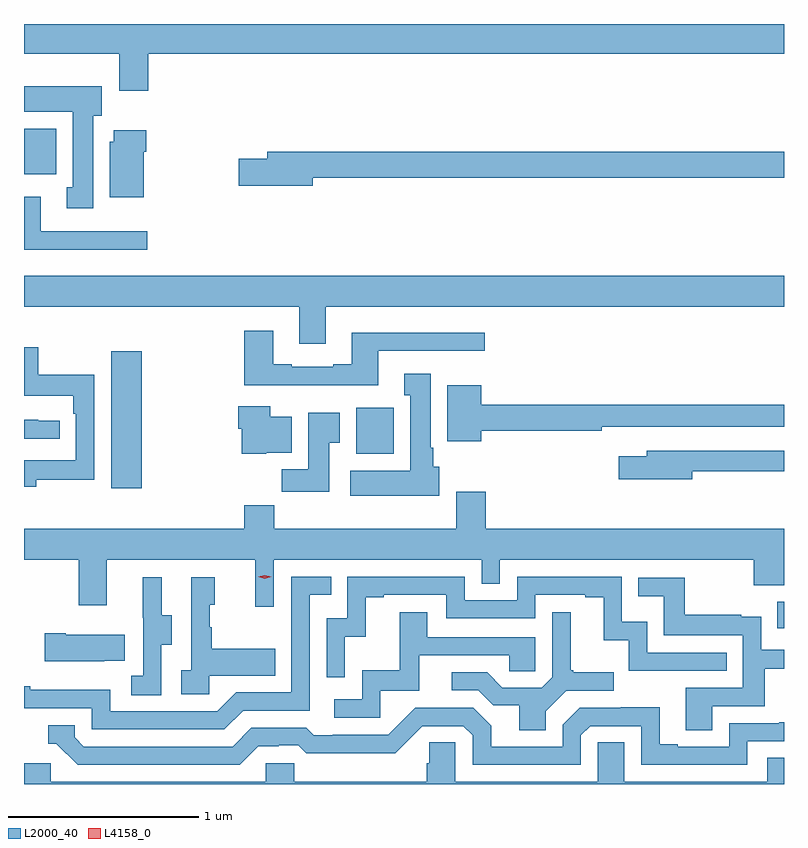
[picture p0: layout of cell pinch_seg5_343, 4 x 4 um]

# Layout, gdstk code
import gdstk
lib = gdstk.Library(unit=1e-6, precision=1e-09)
def R(c, l, rs):  # rectangles x0, y0, x1, y1
    for r in rs: c.add(gdstk.rectangle(r[:2], r[2:], *l))
def P(c, l, *ps):  # polygons
    for p in ps: c.add(gdstk.Polygon(p, *l))
L2000_40 = (2000, 40)
L4158_0 = (4158, 0)

pinch_seg5_343 = lib.new_cell('pinch_seg5_343')
R(pinch_seg5_343, L2000_40, [(962.041,877.712,962.077,877.852), (958.535,878.448,958.696,879.169), (959.825,878.63,960.022,878.872), (958.077,880.1,958.246,880.342)])
P(pinch_seg5_343, L2000_40, [(958.73,880.736),(962.077,880.736),(962.077,880.892),(958.077,880.892),(958.077,880.736),(958.577,880.736),(958.577,880.542),(958.73,880.542)],
  [(958.441,880.41),(958.486,880.41),(958.486,880.564),(958.077,880.564),(958.077,880.43),(958.334,880.43),(958.334,880.034),(958.301,880.034),(958.301,879.921),(958.441,879.921)],
  [(958.708,880.22),(958.721,880.22),(958.721,880.333),(958.55,880.333),(958.55,880.272),(958.529,880.272),(958.529,879.98),(958.708,879.98)],
  [(959.596,880.084),(962.077,880.084),(962.077,880.22),(959.357,880.22),(959.357,880.184),(959.208,880.184),(959.208,880.042),(959.596,880.042)],
  [(958.726,879.801),(958.165,879.801),(958.165,879.982),(958.077,879.982),(958.077,879.704),(958.726,879.704)],
  [(959.665,879.404),(962.077,879.404),(962.077,879.568),(958.077,879.568),(958.077,879.404),(959.525,879.404),(959.525,879.21),(959.665,879.21)],
  [(959.941,879.171),(960.502,879.171),(960.502,879.268),(959.801,879.268),(959.801,879.1),(959.705,879.1),(959.705,879.087),(959.485,879.087),(959.485,879.1),(959.389,879.1),(959.389,879.277),(959.237,879.277),(959.237,878.99),(959.941,878.99)],
  [(958.141,878.494),(958.446,878.494),(958.446,879.046),(958.153,879.046),(958.153,879.192),(958.077,879.192),(958.077,878.936),(958.337,878.936),(958.337,878.84),(958.35,878.84),(958.35,878.595),(958.077,878.595),(958.077,878.456),(958.141,878.456)],
  [(960.262,878.562),(960.232,878.562),(960.232,878.662),(960.217,878.662),(960.217,879.052),(960.077,879.052),(960.077,878.939),(960.11,878.939),(960.11,878.542),(959.793,878.542),(959.793,878.408),(960.262,878.408)],
  [(960.484,878.752),(961.118,878.752),(961.118,878.772),(962.077,878.772),(962.077,878.888),(960.484,878.888),(960.484,878.992),(960.305,878.992),(960.305,878.696),(960.484,878.696)],
  [(959.352,878.636),(959.485,878.636),(959.485,878.824),(959.374,878.824),(959.374,878.881),(959.204,878.881),(959.204,878.763),(959.222,878.763),(959.222,878.63),(959.352,878.63)],
  [(959.683,878.689),(959.74,878.689),(959.74,878.845),(959.573,878.845),(959.573,878.548),(959.434,878.548),(959.434,878.43),(959.683,878.43)],
  [(958.264,878.805),(958.151,878.805),(958.151,878.81),(958.077,878.81),(958.077,878.709),(958.264,878.709)],
  [(961.594,878.538),(962.077,878.538),(962.077,878.646),(961.355,878.646),(961.355,878.617),(961.206,878.617),(961.206,878.495),(961.594,878.495)],
  [(959.391,878.072),(960.486,878.072),(960.486,877.945),(960.582,877.945),(960.582,878.072),(961.918,878.072),(961.918,877.937),(962.077,877.937),(962.077,878.236),(960.506,878.236),(960.506,878.431),(960.353,878.431),(960.353,878.236),(959.393,878.236),(959.393,878.36),(959.237,878.36),(959.237,878.236),(958.077,878.236),(958.077,878.072),(958.366,878.072),(958.366,877.833),(958.513,877.833),(958.513,878.072),(959.294,878.072),(959.294,877.824),(959.391,877.824)],
  [(959.766,877.667),(959.876,877.667),(959.876,877.875),(959.971,877.875),(959.971,877.887),(960.3,877.887),(960.3,877.764),(960.768,877.764),(960.768,877.887),(961.031,877.887),(961.031,877.875),(961.127,877.875),(961.127,877.649),(961.26,877.649),(961.26,877.488),(961.775,877.488),(961.775,877.584),(961.356,877.584),(961.356,877.747),(961.224,877.747),(961.224,877.983),(960.672,877.983),(960.672,877.86),(960.396,877.86),(960.396,877.983),(959.778,877.983),(959.778,877.764),(959.67,877.764),(959.67,877.455),(959.766,877.455)],
  [(959.23,877.278),(959.58,877.278),(959.58,877.887),(959.693,877.887),(959.693,877.983),(959.484,877.983),(959.484,877.374),(959.193,877.374),(959.094,877.275),(958.53,877.275),(958.53,877.387),(958.111,877.387),(958.111,877.406),(958.077,877.406),(958.077,877.29),(958.434,877.29),(958.434,877.179),(959.131,877.179)],
  [(958.8,877.624),(958.855,877.624),(958.855,877.779),(958.801,877.779),(958.801,877.981),(958.703,877.981),(958.703,877.767),(958.704,877.767),(958.704,877.463),(958.641,877.463),(958.641,877.36),(958.8,877.36)],
  [(959.052,877.463),(959.399,877.463),(959.399,877.603),(959.065,877.603),(959.065,877.718),(959.055,877.718),(959.055,877.836),(959.08,877.836),(959.08,877.981),(958.956,877.981),(958.956,877.49),(958.905,877.49),(958.905,877.365),(959.052,877.365)],
  [(961.699,877.302),(961.976,877.302),(961.976,877.498),(962.077,877.498),(962.077,877.599),(961.956,877.599),(961.956,877.771),(961.853,877.771),(961.853,877.783),(961.555,877.783),(961.555,877.977),(961.309,877.977),(961.309,877.88),(961.444,877.88),(961.444,877.674),(961.86,877.674),(961.86,877.398),(961.559,877.398),(961.559,877.174),(961.699,877.174)],
  [(960.823,877.276),(960.93,877.383),(961.18,877.383),(961.18,877.48),(960.967,877.48),(960.967,877.492),(960.955,877.492),(960.955,877.795),(960.858,877.795),(960.858,877.455),(960.801,877.398),(960.595,877.398),(960.514,877.479),(960.327,877.479),(960.327,877.386),(960.468,877.386),(960.548,877.306),(960.683,877.306),(960.683,877.174),(960.823,877.174)],
  [(959.952,877.383),(960.157,877.383),(960.157,877.569),(960.631,877.569),(960.631,877.485),(960.768,877.485),(960.768,877.665),(960.199,877.665),(960.199,877.795),(960.055,877.795),(960.055,877.492),(959.856,877.492),(959.856,877.338),(959.709,877.338),(959.709,877.242),(959.952,877.242)],
  [(958.499,877.541),(958.607,877.541),(958.607,877.678),(958.297,877.678),(958.297,877.686),(958.185,877.686),(958.185,877.538),(958.499,877.538)],
  [(959.311,877.092),(959.418,877.092),(959.418,877.095),(959.521,877.095),(959.563,877.053),(959.796,877.053),(959.796,877.055),(960.032,877.055),(960.174,877.197),(960.39,877.197),(960.438,877.149),(960.438,876.993),(961.008,876.993),(961.008,877.149),(961.056,877.197),(961.326,877.197),(961.326,876.993),(961.884,876.993),(961.884,877.116),(962.077,877.116),(962.077,877.217),(962.053,877.217),(962.053,877.212),(961.788,877.212),(961.788,877.089),(961.519,877.089),(961.519,877.102),(961.423,877.102),(961.423,877.295),(961.218,877.295),(961.218,877.293),(961.002,877.293),(960.912,877.203),(960.912,877.089),(960.535,877.089),(960.535,877.199),(960.441,877.293),(960.135,877.293),(959.994,877.152),(959.701,877.152),(959.701,877.149),(959.602,877.149),(959.563,877.188),(959.274,877.188),(959.175,877.089),(958.392,877.089),(958.344,877.137),(958.344,877.2),(958.205,877.2),(958.205,877.104),(958.248,877.104),(958.359,876.993),(959.212,876.993)],
  [(959.499,877.002),(959.349,877.002),(959.349,876.904),(958.218,876.904),(958.218,877.002),(958.077,877.002),(958.077,876.892),(962.077,876.892),(962.077,877.031),(961.989,877.031),(961.989,876.904),(961.237,876.904),(961.237,877.112),(961.098,877.112),(961.098,876.904),(960.348,876.904),(960.348,877.112),(960.211,877.112),(960.211,877.002),(960.197,877.002),(960.197,876.904),(959.499,876.904)])
P(pinch_seg5_343, L4158_0, [(959.344,877.972),(959.309,877.982),(959.309,877.982),(959.309,877.982),(959.344,877.992),(959.379,877.982),(959.379,877.982),(959.379,877.982)])

lib.write_gds('pinch_seg5_343.gds')
